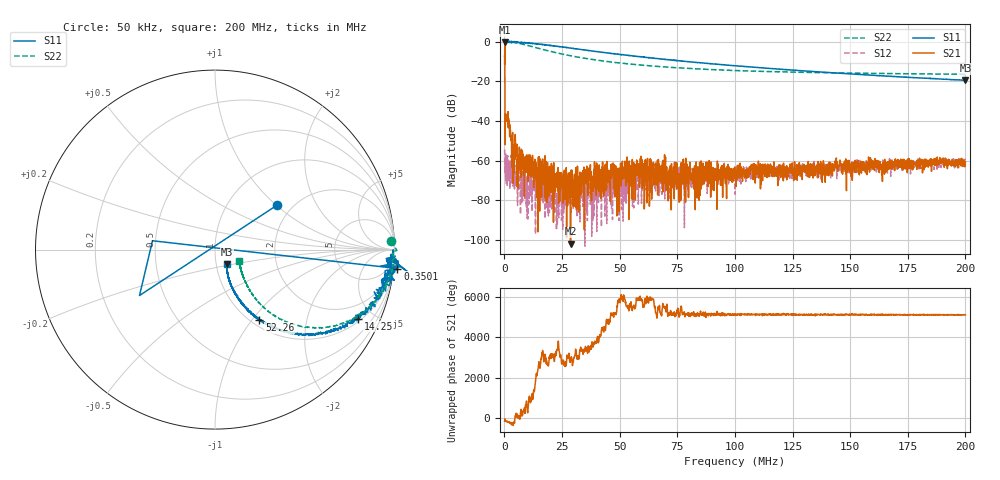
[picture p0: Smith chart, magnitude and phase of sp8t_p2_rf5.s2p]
! 26-Feb-26 11:34:32 AM
! E:\VNA_MEASUREMENTS\SP8T\SP8T_P2_RF5.S2P
! CHANNEL.1
! TR.MEASUREMENT
! CORRECTED.DATA
# GHZ S RI R 50.0
! FREQ.GHZ  S11RE  S11IM  S21RE  S21IM  S12RE  S12IM  S22RE  S22IM
!; PortSelection: Port_12
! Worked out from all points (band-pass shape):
!   2000 points, 50 kHz to 200 MHz, reference 50 ohm
!   highest |S21| = -0.35 dB at 150 kHz (marker M1); lowest = -102.0 dB at 28.66 MHz (marker M2)
!   |S21| within 3 dB of the highest: 122.3 kHz to 155.8 kHz (33.5 kHz wide, 24.1 % of centre)
!   lowest |S11| = -19.5 dB at 200 MHz (marker M3), VSWR 1.24, Z = 56.2 - j9.41 ohm
!   |S11| at or under -10 dB: 79.01 MHz to end of sweep
!   |S22| runs from -16.5 to 0.1 dB; largest |S21 - S12| = 0.96
!   S11 on the Smith chart (normalised r, x): 50 kHz: 1.67, +1.01; 350.1 kHz: -4, -19; 14.25 MHz: 1.15, -4.07; 52.26 MHz: 1.09, -1.09; 200 MHz: 1.12, -0.19
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5e-05  0.3459 0.2477  -0.2055 -0.1837  -0.000898 0.00169  0.9813 0.0492
0.000150025  -0.4206 -0.2559  0.9188 -0.2788  0.000176 -0.000445  1.013 -0.00433
0.000350075  1.016 -0.1054  -0.00443 -0.00812  -0.000257 -0.00112  0.9881 -0.0294
0.0012503  0.9776 -0.0748  -0.0101 -0.00372  -0.000574 -0.000158  0.9958 -0.0871
0.004951226  0.9463 -0.1549  -0.00127 0.00191  -0.000223 -0.000459  0.8953 -0.2819
0.01425355  0.797 -0.3848  -0.000226 0.000482  0.000164 -5.27e-05  0.5413 -0.4362
0.01915478  0.6839 -0.4386  -0.000114 5.44e-05  -0.000113 9.64e-05  0.4162 -0.4109
0.02865715  0.508 -0.473  5.4e-06 5.8e-06  -0.000149 3.16e-05  0.2878 -0.3359
0.03145785  0.4593 -0.4646  6.88e-05 8.32e-05  -0.000144 0.000231  0.2646 -0.3173
0.03345835  0.4285 -0.4647  -0.00018 0.000304  -0.000102 9.5e-05  0.2519 -0.3025
0.04686171  0.2866 -0.4129  -0.000292 0.000319  2.82e-05 -1.61e-05  0.1972 -0.2328
0.04876218  0.273 -0.4016  3.71e-05 1.57e-05  -5.5e-06 0.000102  0.1925 -0.2243
0.05226306  0.2468 -0.3921  -0.000257 0.000929  5.2e-05 7.99e-05  0.1849 -0.2117
0.06676668  0.1781 -0.3288  -0.000585 0.00089  -0.000112 0.000117  0.1652 -0.1707
0.07616903  0.1454 -0.296  -0.00019 8.29e-05  -1.54e-05 0.000306  0.1564 -0.1505
0.07826956  0.1401 -0.2857  0.000103 -5.58e-05  -0.000202 0.000248  0.156 -0.1463
0.08357088  0.1303 -0.2688  0.000105 4.2e-05  -0.000166 0.00033  0.1524 -0.138
0.08677169  0.1224 -0.2601  -0.000347 0.000488  2.84e-05 0.000477  0.152 -0.1338
0.100075  0.1027 -0.2261  -0.000248 0.000405  -2.48e-05 0.000139  0.1457 -0.1175
0.1333833  0.0759 -0.1609  4.36e-05 0.000767  -1.48e-05 0.00065  0.1402 -0.0916
0.1666917  0.0675 -0.1168  0.000125 0.000623  0.000325 0.000933  0.1378 -0.076
0.2  0.066 -0.0827  0.000265 0.000876  0.000237 0.000822  0.136 -0.0645
